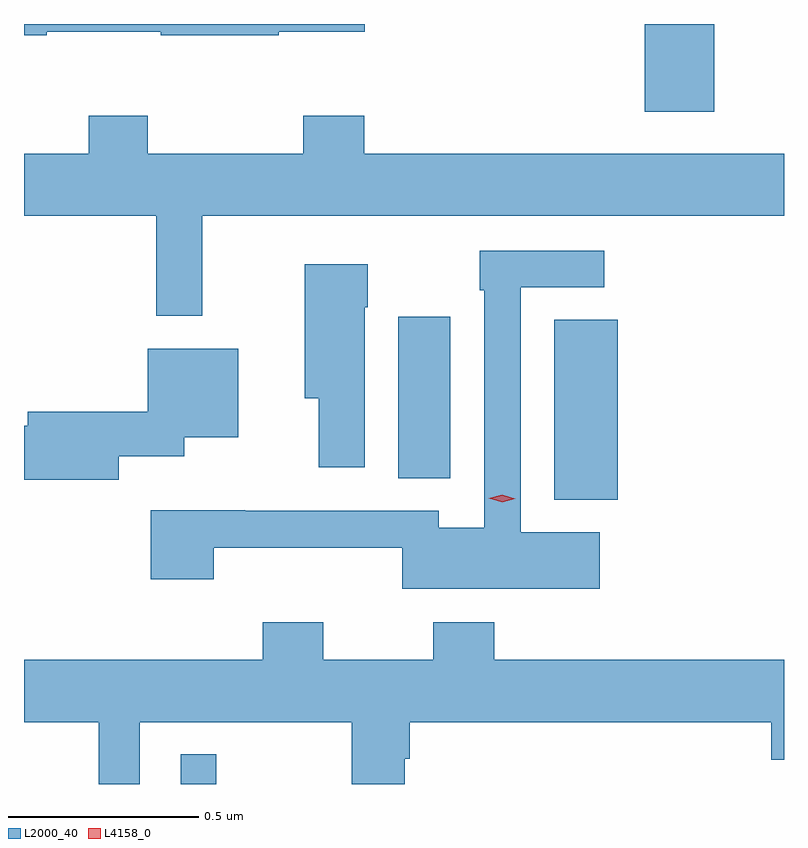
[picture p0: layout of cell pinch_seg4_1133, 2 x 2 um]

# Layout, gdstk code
import gdstk
lib = gdstk.Library(unit=1e-6, precision=1e-09)
def R(c, l, rs):  # rectangles x0, y0, x1, y1
    for r in rs: c.add(gdstk.rectangle(r[:2], r[2:], *l))
def P(c, l, *ps):  # polygons
    for p in ps: c.add(gdstk.Polygon(p, *l))
L2000_40 = (2000, 40)
L4158_0 = (4158, 0)

pinch_seg4_1133 = lib.new_cell('pinch_seg4_1133')
R(pinch_seg4_1133, L2000_40, [(394.326,795.325,394.419,795.403), (395.309,796.073,395.476,796.547), (394.898,796.129,395.035,796.555), (395.546,797.094,395.729,797.325)])
P(pinch_seg4_1133, L2000_40, [(393.973,797.305),(394.273,797.305),(394.273,797.295),(394.583,797.295),(394.583,797.305),(394.81,797.305),(394.81,797.325),(393.913,797.325),(393.913,797.295),(393.973,797.295)],
  [(394.382,796.82),(395.913,796.82),(395.913,796.984),(394.808,796.984),(394.808,797.083),(394.648,797.083),(394.648,796.984),(394.239,796.984),(394.239,797.083),(394.084,797.083),(394.084,796.984),(393.913,796.984),(393.913,796.82),(394.261,796.82),(394.261,796.557),(394.382,796.557)],
  [(395.428,795.988),(395.22,795.988),(395.22,796.632),(395.44,796.632),(395.44,796.728),(395.112,796.728),(395.112,796.625),(395.124,796.625),(395.124,796),(395.004,796),(395.004,796.044),(394.495,796.044),(394.495,796.046),(394.247,796.046),(394.247,795.864),(394.412,795.864),(394.412,795.947),(394.908,795.947),(394.908,795.839),(395.428,795.839)],
  [(394.81,796.58),(394.818,796.58),(394.818,796.693),(394.652,796.693),(394.652,796.34),(394.688,796.34),(394.688,796.158),(394.81,796.158)],
  [(394.162,796.187),(394.335,796.187),(394.335,796.238),(394.477,796.238),(394.477,796.471),(394.239,796.471),(394.239,796.304),(393.923,796.304),(393.923,796.268),(393.913,796.268),(393.913,796.126),(394.162,796.126)],
  [(394.218,795.488),(394.775,795.488),(394.775,795.325),(394.915,795.325),(394.915,795.392),(394.928,795.392),(394.928,795.488),(395.879,795.488),(395.879,795.389),(395.913,795.389),(395.913,795.652),(395.15,795.652),(395.15,795.751),(394.99,795.751),(394.99,795.652),(394.701,795.652),(394.701,795.751),(394.541,795.751),(394.541,795.652),(393.913,795.652),(393.913,795.488),(394.11,795.488),(394.11,795.325),(394.218,795.325)])
P(pinch_seg4_1133, L4158_0, [(395.171,796.067),(395.136,796.077),(395.136,796.077),(395.136,796.077),(395.171,796.086),(395.206,796.076),(395.206,796.076),(395.206,796.076)])

lib.write_gds('pinch_seg4_1133.gds')
